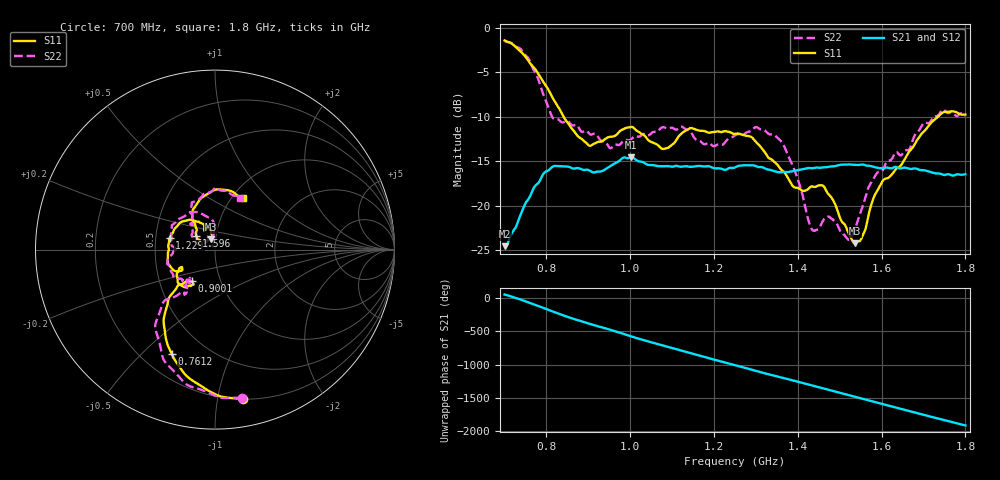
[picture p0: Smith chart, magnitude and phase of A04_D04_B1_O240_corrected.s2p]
! Created with skrf 1.9.0 (http://scikit-rf.org).
# Hz S RI R 50.0
!freq ReS11 ImS11 ReS21 ImS21 ReS12 ImS12 ReS22 ImS22
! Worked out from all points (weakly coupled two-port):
!   1601 points, 700 MHz to 1.8 GHz, reference 50 ohm
!   highest |S21| = -14.58 dB at 1.002 GHz (marker M1); lowest = -24.6 dB at 700.7 MHz (marker M2)
!   lowest |S11| = -24.2 dB at 1.536 GHz (marker M3), VSWR 1.13, Z = 47.3 + j5.35 ohm
!   |S11| at or under -10 dB: 840.5 MHz to 1.735 GHz (894.4 MHz wide, 69.5 % of centre)
!   |S22| runs from -23.8 to -1.5 dB; largest |S21 - S12| = 0.0034
!   S11 on the Smith chart (normalised r, x): 700 MHz: 0.20, -1.19; 761.2 MHz: 0.32, -0.62; 900.1 MHz: 0.73, -0.27; 1.229 GHz: 0.59, +0.08; 1.596 GHz: 0.80, +0.13; 1.8 GHz: 1.13, +0.72
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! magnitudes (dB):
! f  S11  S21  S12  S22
! 700 MHz  -1.4  -24.6  -24.3  -1.5
! 700.7 MHz  -1.5  -24.6  -24.3  -1.5
! 761.2 MHz  -4.0  -18.9  -18.8  -3.8
! 814.1 MHz  -7.9  -15.6  -15.7  -10.1
! 883.6 MHz  -12.5  -15.9  -15.8  -11.7
! 900.1 MHz  -13.2  -16.0  -16.0  -11.8
! 953 MHz  -12.3  -15.6  -15.5  -13.5
! 1.002 GHz  -11.2  -14.6  -14.7  -12.5
! 1.067 GHz  -13.3  -15.6  -15.5  -11.6
! 1.143 GHz  -11.3  -15.6  -15.6  -11.6
! 1.229 GHz  -11.7  -16.0  -15.8  -12.7
! 1.25 GHz  -11.9  -15.7  -15.6  -12.1
! 1.359 GHz  -15.9  -16.2  -16.2  -12.7
! 1.434 GHz  -17.8  -15.8  -15.8  -22.7
! 1.463 GHz  -17.9  -15.7  -15.7  -21.5
! 1.52 GHz  -23.0  -15.4  -15.4  -23.8
! 1.536 GHz  -24.2  -15.4  -15.4  -22.7
! 1.555 GHz  -23.3  -15.4  -15.4  -20.0
! 1.596 GHz  -17.8  -15.8  -15.8  -16.2
! 1.617 GHz  -16.8  -15.8  -15.7  -15.0
! 1.742 GHz  -9.7  -16.4  -16.4  -9.4
! 1.8 GHz  -9.8  -16.5  -16.5  -9.9
